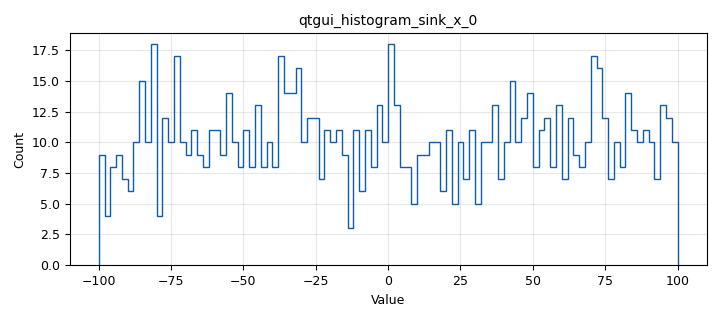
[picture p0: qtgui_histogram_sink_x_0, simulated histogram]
<?xml version='1.0' encoding='utf-8'?>
<?grc format='1' created='3.7.10'?>
<flow_graph>
<block>
<key>options</key>
<param><key>id</key><value>top_block</value></param>
<param><key>generate_options</key><value>qt_gui</value></param>
</block>
<block>
<key>variable</key>
<param><key>id</key><value>samp_rate</value></param>
<param><key>value</key><value>100000</value></param>
</block>
<block>
<key>analog_random_uniform_source_x</key>
<param><key>id</key><value>analog_random_uniform_source_x_0</value></param>
<param><key>maximum</key><value>100</value></param>
<param><key>minimum</key><value>-100</value></param>
<param><key>type</key><value>int</value></param>
<param><key>seed</key><value>0</value></param>
</block>
<block>
<key>blocks_int_to_float</key>
<param><key>id</key><value>blocks_int_to_float_0</value></param>
<param><key>scale</key><value>1</value></param>
</block>
<block>
<key>blocks_throttle</key>
<param><key>id</key><value>blocks_throttle_0</value></param>
<param><key>samples_per_second</key><value>samp_rate</value></param>
<param><key>type</key><value>int</value></param>
</block>
<block>
<key>qtgui_histogram_sink_x</key>
<param><key>id</key><value>qtgui_histogram_sink_x_0</value></param>
<param><key>xmax</key><value>100</value></param>
<param><key>xmin</key><value>-100</value></param>
<param><key>bins</key><value>100</value></param>
<param><key>size</key><value>1024</value></param>
<param><key>type</key><value>float</value></param>
</block>
<connection><source_block_id>analog_random_uniform_source_x_0</source_block_id><sink_block_id>blocks_int_to_float_0</sink_block_id><source_key>0</source_key><sink_key>0</sink_key></connection>
<connection><source_block_id>blocks_int_to_float_0</source_block_id><sink_block_id>blocks_throttle_0</sink_block_id><source_key>0</source_key><sink_key>0</sink_key></connection>
<connection><source_block_id>blocks_throttle_0</source_block_id><sink_block_id>qtgui_histogram_sink_x_0</sink_block_id><source_key>0</source_key><sink_key>0</sink_key></connection>
</flow_graph>
